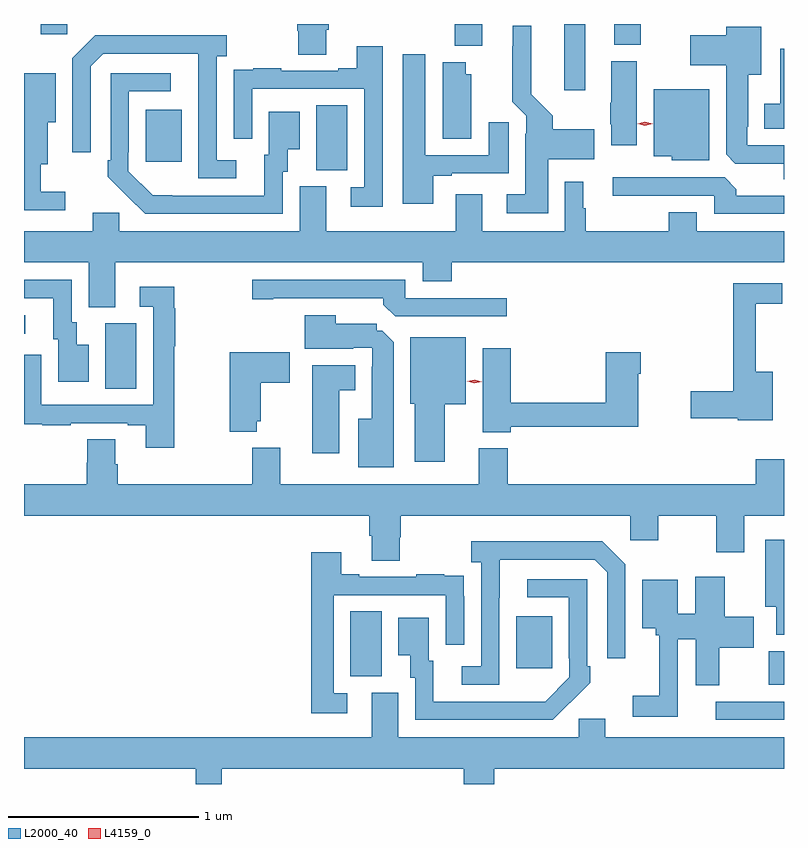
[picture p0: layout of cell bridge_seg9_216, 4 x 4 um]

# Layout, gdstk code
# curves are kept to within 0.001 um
import gdstk
lib = gdstk.Library(unit=1e-6, precision=1e-09)
def R(c, l, rs):  # rectangles x0, y0, x1, y1
    for r in rs: c.add(gdstk.rectangle(r[:2], r[2:], *l))
def P(c, l, *ps):  # polygons
    for p in ps: c.add(gdstk.Polygon(p, *l))
L2000_40 = (2000, 40)
L4159_0 = (4159, 0)

bridge_seg9_216 = lib.new_cell('bridge_seg9_216')
R(bridge_seg9_216, L2000_40, [(157.032,1213.992,157.39,1214.088), (157.31,1214.177,157.39,1214.353), (155.108,1214.221,155.272,1214.564), (155.981,1214.265,156.169,1214.539), (153.818,1215.736,153.982,1216.08), (153.39,1216.026,153.397,1216.122), (154.928,1216.885,155.092,1217.228), (154.031,1216.929,154.219,1217.203), (156.233,1217.307,156.343,1217.655), (155.656,1217.54,155.803,1217.655), (156.497,1217.545,156.637,1217.655), (153.479,1217.601,153.618,1217.655)])
P(bridge_seg9_216, L2000_40, [(154.981,1217.626),(154.994,1217.626),(154.994,1217.655),(154.829,1217.655),(154.829,1217.619),(154.834,1217.619),(154.834,1217.494),(154.981,1217.494)],
  [(156.148,1216.943),(156.391,1216.943),(156.391,1217.101),(156.174,1217.101),(156.174,1217.171),(156.061,1217.284),(156.061,1217.647),(155.963,1217.647),(155.963,1217.537),(155.959,1217.537),(155.959,1217.246),(156.033,1217.172),(156.033,1217.078),(156.029,1217.078),(156.029,1216.759),(155.931,1216.759),(155.931,1216.658),(156.148,1216.658)],
  [(157.39,1217.016),(157.197,1217.016),(157.197,1217.113),(157.201,1217.113),(157.201,1217.387),(157.27,1217.387),(157.27,1217.641),(157.085,1217.641),(157.085,1217.596),(156.897,1217.596),(156.897,1217.438),(157.085,1217.438),(157.085,1216.969),(157.134,1216.92),(157.388,1216.92),(157.388,1216.837),(157.39,1216.837)],
  [(154.507,1216.938),(154.404,1216.938),(154.404,1217.486),(154.456,1217.486),(154.456,1217.596),(153.766,1217.596),(153.645,1217.475),(153.645,1216.98),(153.741,1216.98),(153.741,1217.433),(153.807,1217.499),(154.307,1217.499),(154.308,1216.842),(154.507,1216.842)],
  [(155.277,1217.539),(155.141,1217.539),(155.141,1217.422),(155.045,1217.422),(155.045,1217.409),(154.745,1217.409),(154.745,1217.422),(154.597,1217.422),(154.597,1217.415),(154.495,1217.415),(154.495,1217.306),(154.494,1217.306),(154.494,1217.052),(154.59,1217.052),(154.59,1217.313),(155.181,1217.313),(155.181,1216.797),(155.109,1216.797),(155.109,1216.692),(155.277,1216.692)],
  [(157.39,1217.524),(157.37,1217.524),(157.37,1217.236),(157.286,1217.236),(157.286,1217.105),(157.39,1217.105)],
  [(155.545,1216.857),(155.641,1216.857),(155.641,1216.869),(155.941,1216.869),(155.941,1217.137),(155.837,1217.137),(155.837,1216.965),(155.503,1216.965),(155.503,1217.497),(155.384,1217.497),(155.384,1216.71),(155.545,1216.71)],
  [(156.616,1217.46),(156.482,1217.46),(156.482,1217.241),(156.475,1217.241),(156.475,1217.128),(156.482,1217.128),(156.482,1217.016),(156.616,1217.016)],
  [(155.743,1217.391),(155.716,1217.391),(155.716,1217.455),(155.594,1217.455),(155.594,1217.05),(155.743,1217.05)],
  [(154.752,1216.878),(154.777,1216.878),(154.777,1216.997),(154.84,1216.997),(154.84,1217.194),(154.679,1217.194),(154.679,1216.968),(154.655,1216.968),(154.655,1216.752),(154.068,1216.753),(153.939,1216.881),(153.939,1216.981),(153.942,1216.981),(153.942,1217.301),(154.162,1217.301),(154.162,1217.397),(153.846,1217.397),(153.846,1216.939),(153.831,1216.939),(153.831,1216.851),(154.028,1216.656),(154.752,1216.656)],
  [(153.607,1216.771),(153.478,1216.771),(153.478,1216.916),(153.514,1216.916),(153.514,1217.138),(153.556,1217.138),(153.556,1217.395),(153.39,1217.395),(153.39,1216.674),(153.607,1216.674)],
  [(156.997,1217.311),(156.704,1217.311),(156.704,1216.958),(156.798,1216.958),(156.798,1216.937),(156.997,1216.937)],
  [(157.39,1216.752),(157.139,1216.752),(157.139,1216.786),(157.077,1216.848),(156.489,1216.848),(156.489,1216.752),(157.023,1216.752),(157.023,1216.656),(157.39,1216.656)],
  [(153.871,1216.4),(155.489,1216.4),(155.489,1216.301),(155.642,1216.301),(155.642,1216.4),(157.39,1216.4),(157.39,1216.564),(156.931,1216.564),(156.931,1216.663),(156.784,1216.663),(156.784,1216.564),(156.346,1216.564),(156.346,1216.686),(156.334,1216.686),(156.334,1216.825),(156.237,1216.825),(156.237,1216.564),(155.803,1216.564),(155.803,1216.759),(155.663,1216.759),(155.663,1216.564),(154.981,1216.564),(154.981,1216.8),(154.841,1216.8),(154.841,1216.564),(153.891,1216.564),(153.891,1216.662),(153.752,1216.662),(153.752,1216.564),(153.39,1216.564),(153.39,1216.4),(153.731,1216.4),(153.731,1216.165),(153.871,1216.165)],
  [(153.73,1215.967),(153.667,1215.967),(153.667,1216.086),(153.642,1216.086),(153.642,1216.308),(153.39,1216.308),(153.39,1216.212),(153.545,1216.212),(153.545,1215.996),(153.569,1215.996),(153.569,1215.771),(153.73,1215.771)],
  [(155.932,1216.212),(155.397,1216.212),(155.397,1216.308),(154.59,1216.308),(154.59,1216.207),(154.702,1216.207),(154.702,1216.212),(155.282,1216.212),(155.282,1216.178),(155.343,1216.116),(155.932,1216.116)],
  [(157.33,1215.826),(157.241,1215.826),(157.241,1216.182),(157.381,1216.182),(157.381,1216.29),(157.123,1216.29),(157.123,1215.722),(156.9,1215.722),(156.9,1215.58),(157.146,1215.58),(157.146,1215.569),(157.33,1215.569)],
  [(154.18,1215.96),(154.187,1215.96),(154.187,1216.16),(154.18,1216.16),(154.18,1216.273),(153.999,1216.273),(153.999,1216.167),(154.071,1216.167),(154.071,1215.651),(153.48,1215.651),(153.48,1215.913),(153.39,1215.913),(153.39,1215.549),(153.487,1215.549),(153.487,1215.543),(153.635,1215.543),(153.635,1215.555),(153.935,1215.555),(153.935,1215.543),(154.031,1215.543),(154.031,1215.426),(154.18,1215.426)],
  [(155.335,1215.981),(155.275,1216.041),(155.247,1216.041),(155.247,1216.078),(155.032,1216.078),(155.032,1216.123),(154.868,1216.123),(154.868,1215.947),(155.123,1215.947),(155.123,1215.951),(155.223,1215.951),(155.223,1215.851),(155.219,1215.851),(155.219,1215.577),(155.15,1215.577),(155.15,1215.323),(155.335,1215.323)],
  [(155.605,1215.653),(155.716,1215.653),(155.716,1216.006),(155.423,1216.006),(155.423,1215.657),(155.447,1215.657),(155.447,1215.351),(155.605,1215.351)],
  [(155.951,1215.534),(156.622,1215.534),(156.622,1215.815),(156.635,1215.815),(156.635,1215.928),(156.452,1215.928),(156.452,1215.662),(155.951,1215.662),(155.951,1215.949),(155.804,1215.949),(155.804,1215.506),(155.951,1215.506)],
  [(154.614,1215.563),(154.636,1215.563),(154.636,1215.766),(154.789,1215.766),(154.789,1215.928),(154.474,1215.928),(154.474,1215.509),(154.614,1215.509)],
  [(155.05,1215.728),(155.134,1215.728),(155.134,1215.859),(154.907,1215.859),(154.907,1215.396),(155.05,1215.396)],
  [(155.367,1214.955),(155.372,1214.955),(155.372,1215.068),(156.582,1215.068),(156.582,1214.937),(156.729,1214.937),(156.729,1215.068),(157.033,1215.068),(157.033,1214.874),(157.18,1214.874),(157.18,1215.068),(157.39,1215.068),(157.39,1215.364),(157.241,1215.364),(157.241,1215.232),(155.936,1215.232),(155.936,1215.421),(155.783,1215.421),(155.783,1215.232),(154.738,1215.232),(154.738,1215.424),(154.591,1215.424),(154.591,1215.232),(153.884,1215.232),(153.884,1215.338),(153.871,1215.338),(153.871,1215.47),(153.724,1215.47),(153.724,1215.345),(153.719,1215.345),(153.719,1215.232),(153.39,1215.232),(153.39,1215.068),(155.207,1215.068),(155.207,1214.962),(155.219,1214.962),(155.219,1214.83),(155.367,1214.83)],
  [(157.39,1214.941),(157.292,1214.941),(157.292,1214.588),(157.349,1214.588),(157.349,1214.441),(157.39,1214.441)],
  [(155.892,1214.635),(155.893,1214.835),(156.393,1214.835),(156.459,1214.769),(156.459,1214.316),(156.555,1214.316),(156.555,1214.811),(156.434,1214.932),(155.745,1214.932),(155.745,1214.822),(155.796,1214.822),(155.796,1214.274),(155.694,1214.274),(155.694,1214.178),(155.892,1214.178)],
  [(155.092,1214.133),(155.019,1214.133),(155.019,1214.649),(155.61,1214.649),(155.61,1214.388),(155.706,1214.388),(155.706,1214.642),(155.705,1214.642),(155.705,1214.751),(155.603,1214.751),(155.603,1214.758),(155.455,1214.758),(155.455,1214.745),(155.155,1214.745),(155.155,1214.758),(155.059,1214.758),(155.059,1214.875),(154.903,1214.875),(154.903,1214.028),(155.092,1214.028)],
  [(156.831,1214.416),(156.926,1214.416),(156.926,1214.175),(157.048,1214.175),(157.048,1214.372),(157.231,1214.372),(157.231,1214.535),(157.078,1214.535),(157.078,1214.746),(156.923,1214.746),(156.923,1214.552),(156.832,1214.552),(156.832,1214.731),(156.644,1214.731),(156.644,1214.474),(156.716,1214.474),(156.716,1214.439),(156.734,1214.439),(156.734,1214.119),(156.594,1214.119),(156.594,1214.01),(156.831,1214.01)],
  [(156.263,1214.083),(156.264,1214.082),(156.369,1214.187),(156.369,1214.275),(156.354,1214.275),(156.354,1214.733),(156.039,1214.733),(156.039,1214.637),(156.258,1214.637),(156.258,1214.317),(156.261,1214.317),(156.261,1214.217),(156.133,1214.089),(155.545,1214.088),(155.545,1214.304),(155.521,1214.304),(155.521,1214.53),(155.36,1214.53),(155.36,1214.333),(155.423,1214.333),(155.423,1214.214),(155.448,1214.214),(155.448,1213.992),(156.172,1213.992)],
  [(154.431,1213.736),(155.704,1213.736),(155.704,1213.655),(155.864,1213.655),(155.864,1213.736),(157.39,1213.736),(157.39,1213.9),(156.448,1213.9),(156.448,1213.998),(156.309,1213.998),(156.309,1213.9),(155.359,1213.9),(155.359,1214.136),(155.219,1214.136),(155.219,1213.9),(153.39,1213.9),(153.39,1213.736),(154.293,1213.736),(154.293,1213.655),(154.431,1213.655)])
P(bridge_seg9_216, L4159_0, [(156.658,1217.12),(156.619,1217.13),(156.619,1217.13),(156.619,1217.13),(156.658,1217.14),(156.698,1217.13),(156.698,1217.13),(156.698,1217.13)],
  [(155.761,1215.763),(155.723,1215.774),(155.722,1215.775),(155.723,1215.775),(155.762,1215.783),(155.8,1215.772),(155.8,1215.772),(155.8,1215.772)])

lib.write_gds('bridge_seg9_216.gds')
